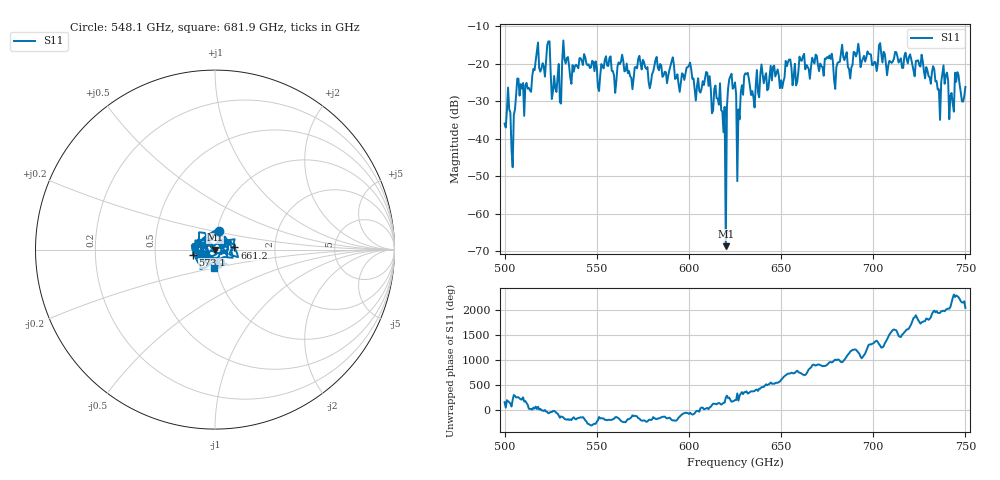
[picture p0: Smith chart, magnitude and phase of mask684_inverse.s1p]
!Created with skrf (http://scikit-rf.org).
# GHz S MA R 50.0
!freq magS11 angS11
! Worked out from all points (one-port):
!   401 points, 500 GHz to 750 GHz, reference 50 ohm
!   lowest |S11| = -68.6 dB at 620 GHz (marker M1), VSWR 1.00, Z = 50 - j0.0348 ohm
!   |S11| at or under -10 dB: start of sweep to end of sweep
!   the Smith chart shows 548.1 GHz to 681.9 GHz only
!   S11 on the Smith chart (normalised r, x): 548.1 GHz: 1.02, +0.21; 573.1 GHz: 0.78, -0.05; 661.2 GHz: 1.24, +0.03; 681.9 GHz: 0.97, -0.21
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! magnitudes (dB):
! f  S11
! 500 GHz  -36.0
! 504.4 GHz  -47.6
! 507.5 GHz  -24.0
! 516.9 GHz  -19.2
! 523.8 GHz  -14.1
! 526.9 GHz  -23.3
! 531.2 GHz  -19.2
! 548.1 GHz  -19.6
! 562.5 GHz  -20.2
! 573.1 GHz  -17.9
! 593.8 GHz  -22.9
! 610 GHz  -22.5
! 620 GHz  -68.6
! 621.9 GHz  -24.2
! 625 GHz  -25.0
! 627.5 GHz  -34.8
! 631.2 GHz  -22.8
! 634.4 GHz  -27.3
! 656.2 GHz  -25.8
! 661.2 GHz  -19.3
! 681.9 GHz  -19.5
! 687.5 GHz  -24.0
! 718.8 GHz  -19.9
! 735 GHz  -26.9
! 738.8 GHz  -25.4
! 742.5 GHz  -27.8
! 745.6 GHz  -22.3
! 750 GHz  -26.2
